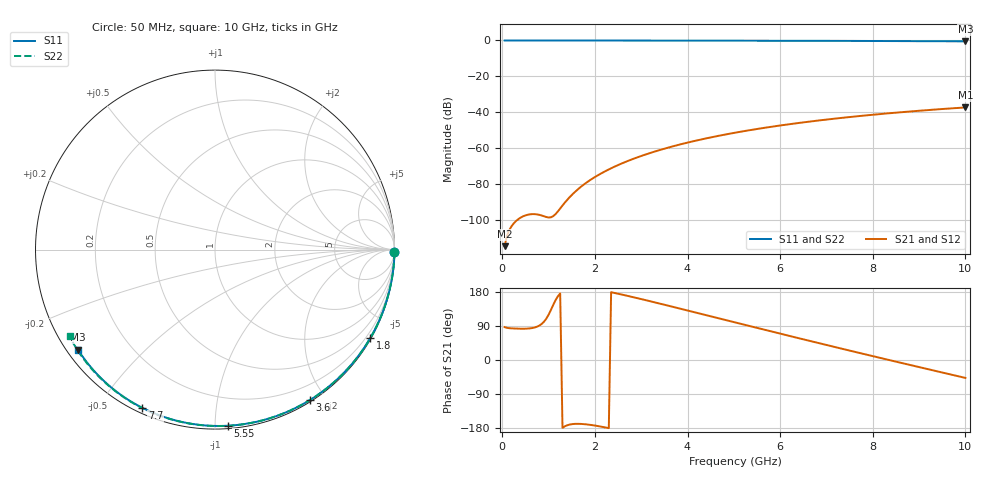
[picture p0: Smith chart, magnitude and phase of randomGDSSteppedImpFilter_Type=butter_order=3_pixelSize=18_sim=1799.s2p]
! freq	dB(S11)	phase(S11)	dB(S12)	phase(S12)
!  dB(S21)	phase(S21)	dB(S22)	phase(S22)
!S-par simulation data
#  GHz  S  DB  R 50
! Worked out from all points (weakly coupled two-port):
!   200 points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, 50 MHz to 10 GHz, reference 50 ohm
!   highest |S21| = -37.35 dB at 10 GHz (marker M1); lowest = -114.7 dB at 50 MHz (marker M2)
!   lowest |S11| = -0.5 dB at 10 GHz (marker M3), VSWR 35.65, Z = 1.55 - j16.3 ohm
!   |S11| at or under -10 dB: nowhere
!   |S22| runs from -0.5 to 0.0 dB; largest |S21 - S12| = 0
!   S11 on the Smith chart (normalised r, x): 50 MHz: open; 1.8 GHz: 0.03, -3.79; 3.6 GHz: 0.02, -1.82; 5.55 GHz: 0.02, -1.07; 7.7 GHz: 0.02, -0.64; 10 GHz: 0.03, -0.33
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0.05  -0.00 -0.8  -114.73 86.8  -114.73 86.8  -0.00 -0.9
0.45  -0.01 -7.5  -98.07 82.5  -98.07 82.5  -0.01 -7.8
0.9  -0.02 -14.9  -98.05 101.0  -98.05 101.0  -0.02 -15.5
1.3  -0.03 -21.5  -92.04 -178.9  -92.04 -178.9  -0.03 -22.3
1.75  -0.04 -28.8  -80.55 -169.1  -80.55 -169.1  -0.04 -29.8
1.8  -0.04 -29.6  -79.59 -169.7  -79.59 -169.7  -0.04 -30.7
1.95  -0.04 -32.0  -76.97 -172.0  -76.97 -172.0  -0.04 -33.2
2.1  -0.04 -34.4  -74.66 -175.1  -74.66 -175.1  -0.05 -35.6
2.3  -0.05 -37.6  -71.92 -179.8  -71.92 -179.8  -0.05 -38.9
2.5  -0.05 -40.7  -69.49 174.9  -69.49 174.9  -0.05 -42.2
2.9  -0.06 -47.0  -65.34 163.7  -65.34 163.7  -0.06 -48.7
3.4  -0.07 -54.7  -61.10 148.9  -61.10 148.9  -0.08 -56.6
3.6  -0.08 -57.7  -59.63 142.8  -59.63 142.8  -0.08 -59.8
4.3  -0.10 -68.1  -55.18 121.5  -55.18 121.5  -0.10 -70.5
5.05  -0.12 -78.9  -51.33 98.5  -51.33 98.5  -0.13 -81.7
5.55  -0.14 -85.9  -49.16 83.3  -49.16 83.3  -0.15 -88.9
6.1  -0.17 -93.5  -47.06 66.6  -47.06 66.6  -0.17 -96.7
6.7  -0.20 -101.5  -45.04 48.6  -45.04 48.6  -0.20 -105.1
7.7  -0.26 -114.6  -42.18 18.9  -42.18 18.9  -0.27 -118.6
8.35  -0.32 -122.9  -40.60 -0.0  -40.60 -0.0  -0.33 -127.3
9.2  -0.40 -133.7  -38.80 -24.5  -38.80 -24.5  -0.41 -138.5
10  -0.49 -143.8  -37.35 -47.3  -37.35 -47.3  -0.50 -149.2
